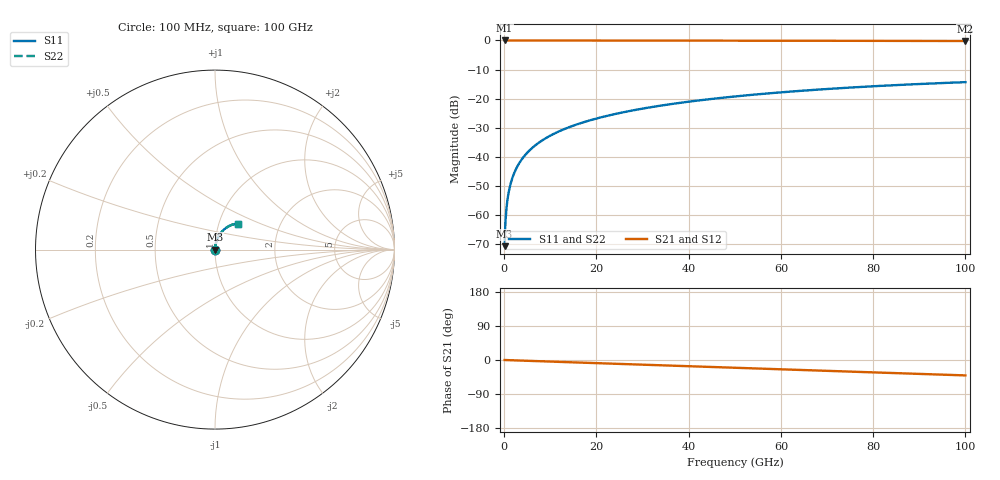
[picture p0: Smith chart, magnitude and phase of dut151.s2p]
! Touchstone file exported from HFSS 2026.1.0
!  File:  C:/ffzhzh/LocalFiles/Ansys_Project_Files/temp_train_TSV_151_1783506604_31944.aedt
!  Generated:  06:31:19 PM Jul  8, 2026
!  Design:  TSV
!  Project:  temp_train_TSV_151_1783506604_31944
! Variables:
!  h_bsmrdl = 2um
!  h_ox = 20um
!  h_rdl = 5um
!  h_sub = 73.09um
!  h_tmrdl = 5um
!  h_tsv = 73.09um
!  h_via = 3um
!  l_bsmrdl = 300um
!  l_sub = 419.18um
!  l_tmrdl = 200um
!  m_sub = 200um
!  pitch = 57.65um
!  r_tsv = 9.59um
!  s_tmrdl = 10um
!  w_bsmrdl = 18um
!  w_sub = 500um
!  w_tmrdl = 12um
!  x_tsv_center1 = 206um
!  x_tsv_center2 = 524um
!  x_tsv_center3 = 736um
!  x_tsv_center4 = 1054um
!  x_tsv_center5 = 1266um
!  x_tsv_center6 = 1584um
# GHz S MA R 50.000000
! Terminal data exported
! Port[1] = TSV1_1_T1
! Port[2] = TSV1_1_T2
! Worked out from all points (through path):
!   1000 points, 100 MHz to 100 GHz, reference 50 ohm
!   highest |S21| = 0.00 dB at 100 MHz (marker M1); lowest = -0.2 dB at 100 GHz (marker M2)
!   group delay of S21, straight-line fit = 1.13 ps
!   lowest |S11| = -70.6 dB at 100 MHz (marker M3), VSWR 1.00, Z = 50 + j0.0267 ohm
!   |S11| at or under -10 dB: start of sweep to end of sweep
!   |S22| runs from -70.6 to -14.3 dB; largest |S21 - S12| = 4e-15
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0.1  0.0002938 65.1  0.9999 -0.0  0.9999 -0.0  0.0002938 65.1
! Gamma 0 0 0 0
! Port Impedance 50 0 50 0
0.3  0.0008034 79.2  0.9999 -0.1  0.9999 -0.1  0.0008034 79.2
0.7  0.001793 82.6  0.9998 -0.3  0.9998 -0.3  0.001793 82.6
0.8  0.002034 83.0  0.9998 -0.3  0.9998 -0.3  0.002034 83.0
1  0.002511 83.6  0.9997 -0.4  0.9997 -0.4  0.002511 83.6
1.3  0.003221 84.1  0.9997 -0.6  0.9997 -0.6  0.003221 84.1
1.7  0.004163 84.6  0.9997 -0.7  0.9997 -0.7  0.004163 84.6
2.3  0.005567 85.0  0.9996 -1.0  0.9996 -1.0  0.005567 85.0
3  0.007194 85.1  0.9995 -1.3  0.9995 -1.3  0.007194 85.1
3.8  0.009041 85.2  0.9994 -1.6  0.9994 -1.6  0.009041 85.2
4.8  0.01134 85.1  0.9994 -2.0  0.9994 -2.0  0.01134 85.1
6  0.01409 84.9  0.9993 -2.5  0.9993 -2.5  0.01409 84.9
8.8  0.02048 84.2  0.999 -3.7  0.999 -3.7  0.02048 84.2
12.4  0.02863 83.0  0.9987 -5.1  0.9987 -5.1  0.02863 83.0
16.8  0.03851 81.4  0.9982 -7.0  0.9982 -7.0  0.03851 81.4
24.2  0.05493 78.6  0.9972 -10.0  0.9972 -10.0  0.05493 78.7
33.4  0.0749 75.1  0.9957 -13.8  0.9957 -13.8  0.0749 75.1
41.2  0.09133 72.0  0.9941 -17.0  0.9941 -17.0  0.09133 72.0
50.1  0.1094 68.5  0.9921 -20.6  0.9921 -20.6  0.1094 68.5
66.7  0.1409 61.9  0.9879 -27.3  0.9879 -27.3  0.1409 61.9
83.4  0.1689 55.2  0.9832 -34.0  0.9832 -34.0  0.1689 55.3
100  0.1923 48.7  0.9786 -40.7  0.9786 -40.7  0.1923 48.7
